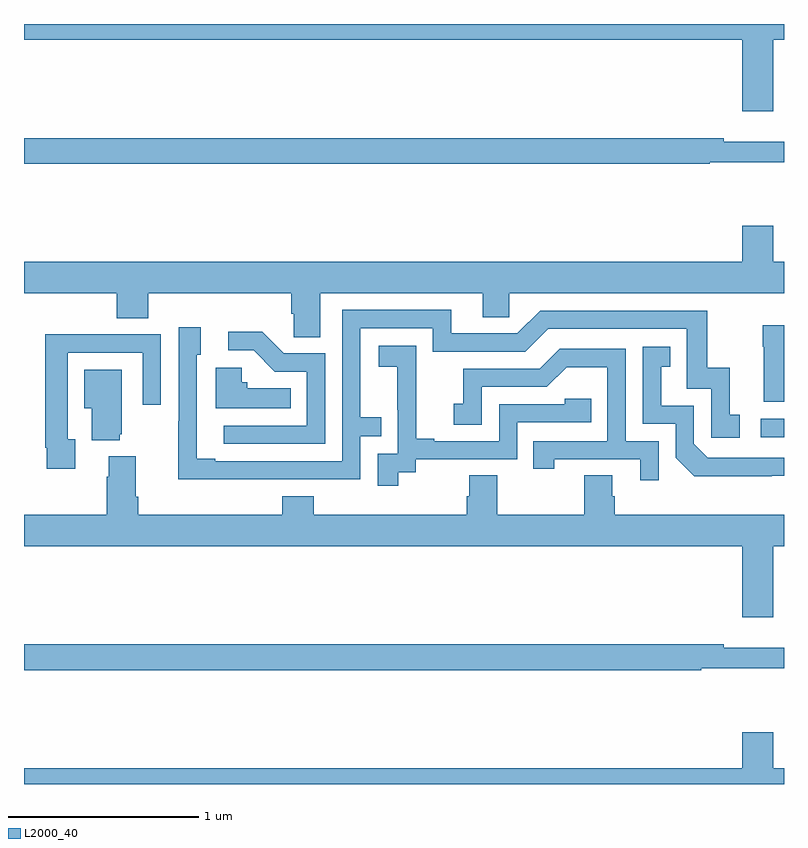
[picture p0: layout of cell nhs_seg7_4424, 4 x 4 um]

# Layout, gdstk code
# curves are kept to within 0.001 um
import gdstk
lib = gdstk.Library(unit=1e-6, precision=1e-09)
def R(c, l, rs):  # rectangles x0, y0, x1, y1
    for r in rs: c.add(gdstk.rectangle(r[:2], r[2:], *l))
def P(c, l, *ps):  # polygons
    for p in ps: c.add(gdstk.Polygon(p, *l))
L2000_40 = (2000, 40)

nhs_seg7_4424 = lib.new_cell('nhs_seg7_4424')
R(nhs_seg7_4424, L2000_40, [(392.877,1031.826,393,1031.922)])
P(nhs_seg7_4424, L2000_40, [(392.944,1033.916),(393,1033.916),(393,1034),(389,1034),(389,1033.916),(392.78,1033.916),(392.78,1033.542),(392.944,1033.542)],
  [(392.608,1033.272),(393,1033.272),(393,1033.381),(392.684,1033.381),(392.684,1033.4),(389,1033.4),(389,1033.264),(392.608,1033.264)],
  [(390.559,1032.584),(391.415,1032.584),(391.415,1032.457),(391.554,1032.457),(391.554,1032.584),(393,1032.584),(393,1032.748),(392.944,1032.748),(392.944,1032.937),(392.78,1032.937),(392.78,1032.748),(389,1032.748),(389,1032.584),(389.489,1032.584),(389.489,1032.451),(389.654,1032.451),(389.654,1032.584),(390.407,1032.584),(390.407,1032.475),(390.42,1032.475),(390.42,1032.352),(390.559,1032.352)],
  [(390.275,1031.604),(390.771,1031.604),(390.771,1031.829),(390.881,1031.829),(390.881,1031.93),(390.771,1031.93),(390.771,1032.399),(391.152,1032.399),(391.152,1032.276),(391.638,1032.276),(391.758,1032.396),(392.487,1032.396),(392.487,1032.081),(392.616,1032.081),(392.616,1031.823),(392.767,1031.823),(392.767,1031.943),(392.714,1031.943),(392.714,1032.19),(392.596,1032.19),(392.596,1032.492),(391.716,1032.492),(391.596,1032.372),(391.249,1032.372),(391.249,1032.495),(390.675,1032.495),(390.675,1031.7),(390.007,1031.7),(390.007,1031.713),(389.91,1031.713),(389.91,1032.258),(389.929,1032.258),(389.929,1032.403),(389.814,1032.403),(389.814,1031.909),(389.812,1031.909),(389.812,1031.603)],
  [(393,1032.415),(392.887,1032.415),(392.887,1032.302),(392.894,1032.302),(392.894,1032.011),(393,1032.011)],
  [(390.585,1032.267),(390.366,1032.267),(390.253,1032.38),(390.075,1032.38),(390.075,1032.282),(390.209,1032.282),(390.32,1032.171),(390.489,1032.171),(390.489,1031.886),(390.051,1031.886),(390.051,1031.79),(390.585,1031.79)],
  [(389.269,1031.814),(389.229,1031.814),(389.229,1032.27),(389.625,1032.27),(389.625,1031.997),(389.721,1031.997),(389.721,1032.366),(389.405,1032.366),(389.405,1032.368),(389.113,1032.368),(389.113,1031.77),(389.121,1031.77),(389.121,1031.658),(389.269,1031.658)],
  [(390.97,1031.641),(391.062,1031.641),(391.062,1031.709),(391.596,1031.709),(391.596,1031.904),(391.985,1031.904),(391.985,1032.027),(391.845,1032.027),(391.845,1032),(391.5,1032),(391.5,1031.805),(391.159,1031.805),(391.159,1031.818),(391.064,1031.818),(391.064,1032.101),(391.065,1032.101),(391.065,1032.307),(390.867,1032.307),(390.867,1032.197),(390.965,1032.197),(390.965,1031.969),(390.966,1031.969),(390.966,1031.739),(390.861,1031.739),(390.861,1031.571),(390.97,1031.571)],
  [(392.936,1031.622),(393,1031.622),(393,1031.718),(392.598,1031.718),(392.526,1031.79),(392.526,1031.991),(392.353,1031.991),(392.353,1032.195),(392.402,1032.195),(392.402,1032.301),(392.256,1032.301),(392.256,1031.895),(392.43,1031.895),(392.43,1031.718),(392.528,1031.621)],
  [(392.34,1031.805),(392.166,1031.805),(392.166,1032.291),(391.82,1032.291),(391.715,1032.186),(391.312,1032.186),(391.312,1032.001),(391.263,1032.001),(391.263,1031.892),(391.41,1031.892),(391.41,1032.09),(391.752,1032.09),(391.856,1032.194),(392.07,1032.194),(392.07,1031.805),(391.681,1031.805),(391.681,1031.658),(391.792,1031.658),(391.792,1031.709),(392.243,1031.709),(392.243,1031.598),(392.34,1031.598)],
  [(390.404,1032.082),(390.174,1032.082),(390.174,1032.114),(390.147,1032.114),(390.147,1032.19),(390.008,1032.19),(390.008,1031.978),(390.404,1031.978)],
  [(389.504,1031.841),(389.515,1031.841),(389.515,1032.181),(389.318,1032.181),(389.318,1031.978),(389.357,1031.978),(389.357,1031.81),(389.504,1031.81)],
  [(391.948,1031.624),(391.948,1031.416),(391.491,1031.416),(391.491,1031.624),(391.343,1031.624),(391.343,1031.514),(391.331,1031.514),(391.331,1031.416),(390.524,1031.416),(390.524,1031.515),(390.359,1031.515),(390.359,1031.416),(389.6,1031.416),(389.6,1031.512),(389.587,1031.512),(389.587,1031.725),(389.447,1031.725),(389.447,1031.618),(389.435,1031.618),(389.435,1031.416),(389,1031.416),(389,1031.252),(392.78,1031.252),(392.78,1030.878),(392.944,1030.878),(392.944,1031.252),(393,1031.252),(393,1031.416),(392.108,1031.416),(392.108,1031.514),(392.095,1031.514),(392.095,1031.624)],
  [(392.564,1030.608),(393,1030.608),(393,1030.717),(392.684,1030.717),(392.684,1030.736),(389,1030.736),(389,1030.6),(392.564,1030.6)],
  [(393,1030.084),(392.944,1030.084),(392.944,1030.273),(392.78,1030.273),(392.78,1030.084),(389,1030.084),(389,1030),(393,1030)])

lib.write_gds('nhs_seg7_4424.gds')
